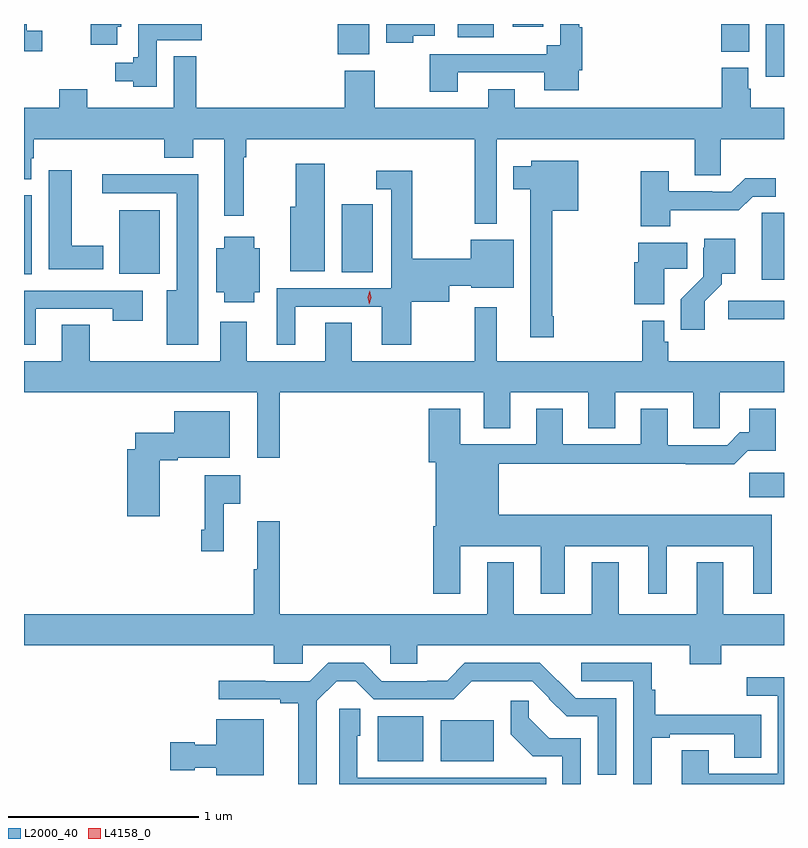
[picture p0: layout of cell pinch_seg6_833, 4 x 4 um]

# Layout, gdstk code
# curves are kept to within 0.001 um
import gdstk
lib = gdstk.Library(unit=1e-6, precision=1e-09)
def R(c, l, rs):  # rectangles x0, y0, x1, y1
    for r in rs: c.add(gdstk.rectangle(r[:2], r[2:], *l))
def P(c, l, *ps):  # polygons
    for p in ps: c.add(gdstk.Polygon(p, *l))
L2000_40 = (2000, 40)
L4158_0 = (4158, 0)

pinch_seg6_833 = lib.new_cell('pinch_seg6_833')
R(pinch_seg6_833, L2000_40, [(243.905,969.371,244.144,969.607), (244.238,969.371,244.516,969.586), (245.862,970.76,246.044,970.889), (242.044,971.932,242.086,972.348), (242.546,971.936,242.758,972.271), (243.716,971.944,243.88,972.301), (245.948,972.972,246.044,973.25), (243.695,973.091,243.862,973.25), (245.714,973.105,245.86,973.25), (244.328,973.181,244.516,973.25), (244.616,973.236,244.777,973.25)])
P(pinch_seg6_833, L2000_40, [(244.327,972.996),(244.781,972.996),(244.781,972.902),(244.963,972.902),(244.963,973.006),(244.982,973.006),(244.982,973.234),(244.967,973.234),(244.967,973.25),(244.866,973.25),(244.866,973.138),(244.796,973.138),(244.796,973.092),(244.18,973.092),(244.18,972.894),(244.327,972.894)],
  [(244.093,973.187),(244.207,973.187),(244.207,973.25),(243.95,973.25),(243.95,973.151),(244.093,973.151)],
  [(242.742,973.164),(242.98,973.164),(242.98,973.25),(242.646,973.25),(242.646,973.074),(242.618,973.074),(242.618,973.047),(242.523,973.047),(242.523,972.95),(242.618,972.95),(242.618,972.92),(242.742,972.92)],
  [(242.536,973.236),(242.557,973.236),(242.557,973.25),(242.396,973.25),(242.396,973.14),(242.536,973.14)],
  [(242.14,973.215),(242.058,973.215),(242.058,973.25),(242.044,973.25),(242.044,973.107),(242.14,973.107)],
  [(244.531,972.644),(245.573,972.644),(245.573,972.454),(245.712,972.454),(245.712,972.644),(246.044,972.644),(246.044,972.808),(245.87,972.808),(245.87,972.909),(245.857,972.909),(245.857,973.02),(245.717,973.02),(245.717,972.808),(244.627,972.808),(244.627,972.907),(244.487,972.907),(244.487,972.808),(243.891,972.808),(243.891,973.003),(243.731,973.003),(243.731,972.808),(242.95,972.808),(242.95,973.079),(242.831,973.079),(242.831,972.808),(242.377,972.808),(242.377,972.907),(242.23,972.907),(242.23,972.808),(242.044,972.808),(242.044,972.433),(242.083,972.433),(242.083,972.543),(242.096,972.543),(242.096,972.644),(242.783,972.644),(242.783,972.545),(242.935,972.545),(242.935,972.644),(243.098,972.644),(243.098,972.24),(243.2,972.24),(243.2,972.548),(243.215,972.548),(243.215,972.644),(244.417,972.644),(244.417,972.2),(244.531,972.2)],
  [(244.831,971.713),(244.823,971.713),(244.823,972.266),(244.96,972.266),(244.96,972.529),(244.713,972.529),(244.713,972.502),(244.619,972.502),(244.619,972.38),(244.709,972.38),(244.709,971.601),(244.831,971.601)],
  [(243.628,972.514),(243.473,972.514),(243.473,972.288),(243.446,972.288),(243.446,971.948),(243.628,971.948)],
  [(242.461,972.082),(242.296,972.082),(242.296,972.481),(242.174,972.481),(242.174,971.96),(242.461,971.96)],
  [(243.472,971.763),(243.926,971.763),(243.926,971.562),(244.083,971.562),(244.083,971.789),(244.282,971.789),(244.282,971.872),(244.398,971.872),(244.398,971.861),(244.621,971.861),(244.621,972.115),(244.394,972.115),(244.394,972.014),(244.087,972.014),(244.087,972.478),(243.897,972.478),(243.897,972.381),(243.978,972.381),(243.978,971.859),(243.374,971.859),(243.374,971.562),(243.472,971.562)],
  [(245.445,972.27),(245.807,972.27),(245.88,972.342),(246.001,972.342),(246.001,972.439),(245.839,972.439),(245.766,972.366),(245.666,972.366),(245.666,972.369),(245.437,972.369),(245.437,972.475),(245.29,972.475),(245.29,972.185),(245.445,972.185)],
  [(242.962,972.458),(242.457,972.458),(242.457,972.36),(242.849,972.36),(242.849,971.848),(242.795,971.848),(242.795,971.562),(242.962,971.562)],
  [(246.044,972.257),(245.928,972.257),(245.928,972.146),(245.927,972.146),(245.927,971.904),(246.044,971.904)],
  [(243.256,971.837),(243.286,971.837),(243.286,972.07),(243.256,972.07),(243.256,972.13),(243.098,972.13),(243.098,972.07),(243.056,972.07),(243.056,971.837),(243.098,971.837),(243.098,971.786),(243.256,971.786)],
  [(245.626,971.791),(245.716,971.881),(245.716,971.936),(245.788,971.936),(245.788,972.121),(245.624,972.121),(245.624,972.072),(245.619,972.072),(245.619,971.921),(245.5,971.802),(245.5,971.64),(245.626,971.64)],
  [(245.413,971.962),(245.534,971.962),(245.534,972.1),(245.276,972.1),(245.276,971.997),(245.257,971.997),(245.257,971.774),(245.413,971.774)],
  [(242.107,971.751),(242.512,971.751),(242.512,971.688),(242.668,971.688),(242.668,971.847),(242.044,971.847),(242.044,971.562),(242.107,971.562)],
  [(245.975,971.697),(246.044,971.697),(246.044,971.793),(245.751,971.793),(245.751,971.695),(245.975,971.695)],
  [(244.603,971.312),(245.015,971.312),(245.015,971.122),(245.155,971.122),(245.155,971.312),(245.567,971.312),(245.567,971.122),(245.706,971.122),(245.706,971.312),(246.044,971.312),(246.044,971.476),(245.435,971.476),(245.435,971.577),(245.415,971.577),(245.415,971.689),(245.299,971.689),(245.299,971.476),(244.531,971.476),(244.531,971.758),(244.417,971.758),(244.417,971.476),(243.769,971.476),(243.769,971.678),(243.629,971.678),(243.629,971.476),(243.217,971.476),(243.217,971.683),(243.077,971.683),(243.077,971.476),(242.391,971.476),(242.391,971.666),(242.243,971.666),(242.243,971.476),(242.044,971.476),(242.044,971.312),(243.272,971.312),(243.272,970.968),(243.389,970.968),(243.389,971.312),(244.463,971.312),(244.463,971.122),(244.603,971.122)],
  [(244.339,970.502),(244.763,970.502),(244.763,970.251),(244.891,970.251),(244.891,970.502),(245.33,970.502),(245.33,970.251),(245.428,970.251),(245.428,970.502),(245.882,970.502),(245.882,970.251),(245.98,970.251),(245.98,970.666),(244.543,970.666),(244.543,970.936),(245.527,970.936),(245.527,970.934),(245.783,970.934),(245.852,971.003),(246.001,971.003),(246.001,971.224),(245.861,971.224),(245.861,971.101),(245.812,971.101),(245.745,971.034),(245.431,971.034),(245.431,971.224),(245.291,971.224),(245.291,971.037),(244.879,971.037),(244.879,971.224),(244.739,971.224),(244.739,971.037),(244.339,971.037),(244.339,971.224),(244.175,971.224),(244.175,970.944),(244.211,970.944),(244.211,970.606),(244.199,970.606),(244.199,970.251),(244.339,970.251)],
  [(242.758,970.955),(242.854,970.955),(242.854,970.967),(243.127,970.967),(243.127,971.212),(242.834,971.212),(242.834,971.098),(242.63,971.098),(242.63,971.011),(242.588,971.011),(242.588,970.659),(242.758,970.659)],
  [(243.095,970.724),(243.181,970.724),(243.181,970.876),(242.995,970.876),(242.995,970.588),(242.977,970.588),(242.977,970.476),(243.095,970.476)],
  [(245.713,969.98),(246.044,969.98),(246.044,970.144),(245.725,970.144),(245.725,970.417),(245.585,970.417),(245.585,970.144),(245.173,970.144),(245.173,970.417),(245.033,970.417),(245.033,970.144),(244.621,970.144),(244.621,970.417),(244.481,970.417),(244.481,970.144),(243.389,970.144),(243.389,970.633),(243.272,970.633),(243.272,970.38),(243.253,970.38),(243.253,970.144),(242.044,970.144),(242.044,969.98),(243.359,969.98),(243.359,969.882),(243.51,969.882),(243.51,969.98),(243.972,969.98),(243.972,969.882),(244.114,969.882),(244.114,969.98),(245.549,969.98),(245.549,969.881),(245.713,969.881)],
  [(245.347,969.493),(245.443,969.493),(245.443,969.513),(245.783,969.513),(245.783,969.388),(245.923,969.388),(245.923,969.614),(245.366,969.614),(245.366,969.746),(245.348,969.746),(245.348,969.888),(244.977,969.888),(244.977,969.792),(245.25,969.792),(245.25,969.25),(245.347,969.25)],
  [(243.585,969.687),(243.689,969.791),(243.79,969.791),(243.885,969.696),(244.305,969.696),(244.4,969.791),(244.719,969.792),(244.809,969.702),(244.807,969.7),(244.901,969.606),(245.064,969.606),(245.064,969.3),(245.16,969.3),(245.16,969.702),(244.947,969.702),(244.759,969.888),(244.365,969.888),(244.271,969.794),(244.166,969.794),(244.166,969.792),(243.927,969.792),(243.831,969.888),(243.644,969.888),(243.548,969.792),(243.315,969.792),(243.315,969.794),(243.069,969.794),(243.069,969.696),(243.392,969.696),(243.392,969.676),(243.488,969.676),(243.488,969.25),(243.585,969.25)],
  [(246.044,969.811),(245.847,969.811),(245.847,969.714),(246.012,969.714),(246.012,969.303),(245.647,969.303),(245.647,969.428),(245.507,969.428),(245.507,969.25),(246.044,969.25)],
  [(244.974,969.492),(244.808,969.492),(244.7,969.6),(244.7,969.688),(244.605,969.688),(244.605,969.512),(244.721,969.396),(244.878,969.396),(244.878,969.25),(244.974,969.25)],
  [(244.793,969.282),(243.798,969.282),(243.798,969.504),(243.814,969.504),(243.814,969.647),(243.702,969.647),(243.702,969.25),(244.793,969.25)],
  [(243.307,969.592),(243.056,969.592),(243.056,969.457),(242.943,969.457),(242.943,969.47),(242.814,969.47),(242.814,969.323),(242.943,969.323),(242.943,969.335),(243.056,969.335),(243.056,969.296),(243.307,969.296)])
P(pinch_seg6_833, L4158_0, [(243.86,971.775),(243.86,971.775),(243.852,971.811),(243.863,971.846),(243.863,971.847),(243.863,971.846),(243.871,971.81),(243.86,971.775)])

lib.write_gds('pinch_seg6_833.gds')
